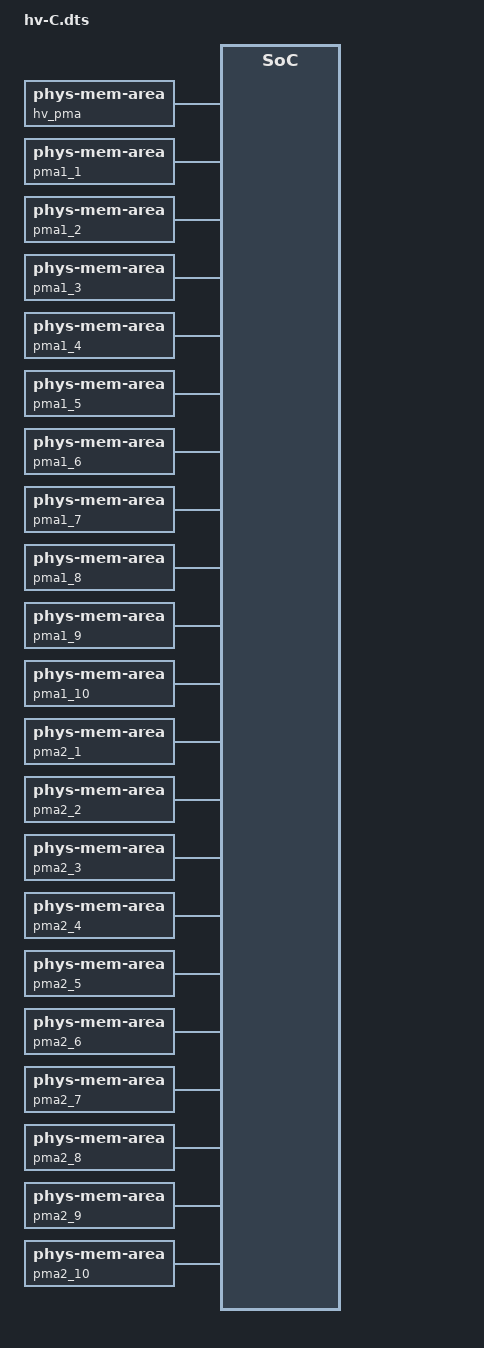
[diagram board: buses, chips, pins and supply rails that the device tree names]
/*
 * Copyright (C) 2013 Freescale Semiconductor, Inc.
 *
 * Redistribution and use in source and binary forms, with or without
 * modification, are permitted provided that the following conditions
 * are met:
 * 1. Redistributions of source code must retain the above copyright
 *    notice, this list of conditions and the following disclaimer.
 * 2. Redistributions in binary form must reproduce the above copyright
 *    notice, this list of conditions and the following disclaimer in the
 *    documentation and/or other materials provided with the distribution.
 *
 * THIS SOFTWARE IS PROVIDED BY THE AUTHOR "AS IS" AND ANY EXPRESS OR
 * IMPLIED WARRANTIES, INCLUDING, BUT NOT LIMITED TO, THE IMPLIED WARRANTIES
 * OF MERCHANTABILITY AND FITNESS FOR A PARTICULAR PURPOSE ARE DISCLAIMED.  IN
 * NO EVENT SHALL THE AUTHOR BE LIABLE FOR ANY DIRECT, INDIRECT, INCIDENTAL,
 * SPECIAL, EXEMPLARY, OR CONSEQUENTIAL DAMAGES (INCLUDING, BUT NOT LIMITED
 * TO, PROCUREMENT OF SUBSTITUTE GOODS OR SERVICES; LOSS OF USE, DATA, OR
 * PROFITS; OR BUSINESS INTERRUPTION) HOWEVER CAUSED AND ON ANY THEORY OF
 * LIABILITY, WHETHER IN CONTRACT, STRICT LIABILITY, OR TORT (INCLUDING
 * NEGLIGENCE OR OTHERWISE) ARISING IN ANY WAY OUT OF THE USE OF THIS
 * SOFTWARE, EVEN IF ADVISED OF THE POSSIBILITY OF SUCH DAMAGE.
 */

/dts-v1/;

/ {
	compatible = "fsl,hv-config";

	// =====================================================
	// Physical Memory Areas
	// =====================================================
	hv_pma:hv_pma {
		compatible = "phys-mem-area";
		addr = <0x0 0x00000000>;
		size = <0x0 0x20000000>;  // 512MB
	};

	pma1_1:pma1_1 {
		compatible = "phys-mem-area";
		addr = <0x0 0x20000000>;
		size = <0x0 0x1000000>;  // 16MB
	};
	pma1_2:pma1_2 {
		compatible = "phys-mem-area";
		addr = <0x0 0x21000000>;
		size = <0x0 0x1000000>;  // 16MB
	};
	pma1_3:pma1_3 {
		compatible = "phys-mem-area";
		addr = <0x0 0x22000000>;
		size = <0x0 0x1000000>;  // 16MB
	};
	pma1_4:pma1_4 {
		compatible = "phys-mem-area";
		addr = <0x0 0x23000000>;
		size = <0x0 0x1000000>;  // 16MB
	};
	pma1_5:pma1_5 {
		compatible = "phys-mem-area";
		addr = <0x0 0x24000000>;
		size = <0x0 0x1000000>;  // 16MB
	};
	pma1_6:pma1_6 {
		compatible = "phys-mem-area";
		addr = <0x0 0x25000000>;
		size = <0x0 0x1000000>;  // 16MB
	};
	pma1_7:pma1_7 {
		compatible = "phys-mem-area";
		addr = <0x0 0x26000000>;
		size = <0x0 0x1000000>;  // 16MB
	};
	pma1_8:pma1_8 {
		compatible = "phys-mem-area";
		addr = <0x0 0x27000000>;
		size = <0x0 0x1000000>;  // 16MB
	};
	pma1_9:pma1_9 {
		compatible = "phys-mem-area";
		addr = <0x0 0x28000000>;
		size = <0x0 0x4000000>;  // 64MB
	};
	pma1_10:pma1_10 {
		compatible = "phys-mem-area";
		addr = <0x0 0x2c000000>;
		size = <0x0 0x4000000>;  // 64MB
	};

	pma2_1:pma2_1 {
		compatible = "phys-mem-area";
		addr = <0x0 0x30000000>;
		size = <0x0 0x1000000>;  // 16MB
	};
	pma2_2:pma2_2 {
		compatible = "phys-mem-area";
		addr = <0x0 0x31000000>;
		size = <0x0 0x1000000>;  // 16MB
	};
	pma2_3:pma2_3 {
		compatible = "phys-mem-area";
		addr = <0x0 0x32000000>;
		size = <0x0 0x1000000>;  // 16MB
	};
	pma2_4:pma2_4 {
		compatible = "phys-mem-area";
		addr = <0x0 0x33000000>;
		size = <0x0 0x1000000>;  // 16MB
	};
	pma2_5:pma2_5 {
		compatible = "phys-mem-area";
		addr = <0x0 0x34000000>;
		size = <0x0 0x1000000>;  // 16MB
	};
	pma2_6:pma2_6 {
		compatible = "phys-mem-area";
		addr = <0x0 0x35000000>;
		size = <0x0 0x1000000>;  // 16MB
	};
	pma2_7:pma2_7 {
		compatible = "phys-mem-area";
		addr = <0x0 0x36000000>;
		size = <0x0 0x1000000>;  // 16MB
	};
	pma2_8:pma2_8 {
		compatible = "phys-mem-area";
		addr = <0x0 0x37000000>;
		size = <0x0 0x1000000>;  // 16MB
	};
	pma2_9:pma2_9 {
		compatible = "phys-mem-area";
		addr = <0x0 0x38000000>;
		size = <0x0 0x4000000>;  // 64MB
	};
	pma2_10:pma2_10 {
		compatible = "phys-mem-area";
		addr = <0x0 0x3c000000>;
		size = <0x0 0x4000000>;  // 64MB
	};
	// =====================================================
	// Hypervisor Config
	// =====================================================
	hv:hypervisor-config {
		compatible = "hv-config";
		stdout = <&hvbc>;

		hvbc: byte-channel {
			compatible = "byte-channel";
			endpoint = <&uartmux>;
			mux-channel = <0>;
		};

		hv-memory {
			compatible = "hv-memory";
			phys-mem = <&hv_pma>;
		};

		serial0:serial0 {
			device = "serial0";
		};

		mpic {
			device = "/soc/pic";
		};

		cpc {
			device = "/soc/l3-cache-controller";
		};

		corenet-law {
			device = "/soc/corenet-law";
		};

		corenet-cf {
			device = "/soc/corenet-cf";
		};

		guts {
			device = "/soc/global-utilities@e0000";
		};
	};

	uartmux: uartmux {
		compatible = "byte-channel-mux";
		endpoint = <&serial0>;
	};

	// =====================================================
	// Partition 1
	// =====================================================
	part1 {
		compatible = "partition";
		label = "lrat-test-1";
		cpus = <0 1 2 1>;
		guest-image = <0xf 0xe8a00000 0 0 0 0x200000>;
		dtb-window = <0 0x00100000 0 0x10000>;

		direct-guest-tlb-management;
		direct-guest-tlb-miss;

		bc1: bc1 {
			compatible = "byte-channel";
			endpoint = <&uartmux>;
			mux-channel = <1>;
		};

		gpma1 {
			compatible = "guest-phys-mem-area";
			phys-mem = <&pma1_1>;
			guest-addr = <0 0>;
		};
		gpma2 {
			compatible = "guest-phys-mem-area";
			phys-mem = <&pma1_2>;
			guest-addr = <0 0x2000000>;
			node-update {
				prepend-stringlist = "compatible", "fsl,lrat-test";
			};
		};
		gpma3 {
			compatible = "guest-phys-mem-area";
			phys-mem = <&pma1_3>;
			guest-addr = <0 0x4000000>;
			node-update {
				prepend-stringlist = "compatible", "fsl,lrat-test";
			};

		};

		gpma4 {
			compatible = "guest-phys-mem-area";
			phys-mem = <&pma1_4>;
			guest-addr = <0 0x6000000>;
			node-update {
				prepend-stringlist = "compatible", "fsl,lrat-test";
			};

		};
		gpma5 {
			compatible = "guest-phys-mem-area";
			phys-mem = <&pma1_5>;
			guest-addr = <0 0x8000000>;
			node-update {
				prepend-stringlist = "compatible", "fsl,lrat-test";
			};

		};
		gpma6 {
			compatible = "guest-phys-mem-area";
			phys-mem = <&pma1_6>;
			guest-addr = <0 0xa000000>;
			node-update {
				prepend-stringlist = "compatible", "fsl,lrat-test";
			};

		};
		gpma7 {
			compatible = "guest-phys-mem-area";
			phys-mem = <&pma1_7>;
			guest-addr = <0 0xc000000>;
			node-update {
				prepend-stringlist = "compatible", "fsl,lrat-test";
			};

		};
		gpma8 {
			compatible = "guest-phys-mem-area";
			phys-mem = <&pma1_8>;
			guest-addr = <0 0xe000000>;
			node-update {
				prepend-stringlist = "compatible", "fsl,lrat-test";
			};

		};
		gpma9 {
			compatible = "guest-phys-mem-area";
			phys-mem = <&pma1_9>;
			guest-addr = <0 0x10000000>;
			node-update {
				prepend-stringlist = "compatible", "fsl,lrat-test";
			};
		};
		gpma10 {
			compatible = "guest-phys-mem-area";
			phys-mem = <&pma1_10>;
			guest-addr = <0 0x14000000>;
			node-update {
				prepend-stringlist = "compatible", "fsl,lrat-test";
			};

		};

		aliases {
			stdout = <&bc1>;
		};

	};

	// =====================================================
	// Partition 2
	// =====================================================
	part2 {
		compatible = "partition";
		label = "lrat-test-2";
		cpus = <1 1 3 1>;
		guest-image = <0xf 0xe8a00000 0 0 0 0x200000>;
		dtb-window = <0 0x00100000 0 0x10000>;

		direct-guest-tlb-management;
		direct-guest-tlb-miss;

		bc2: bc2 {
			compatible = "byte-channel";
			endpoint = <&uartmux>;
			mux-channel = <2>;
		};

		gpma1 {
			compatible = "guest-phys-mem-area";
			phys-mem = <&pma2_1>;
			guest-addr = <0 0>;
		};
		gpma2 {
			compatible = "guest-phys-mem-area";
			phys-mem = <&pma2_2>;
			guest-addr = <0 0x20000000>;
			node-update {
				prepend-stringlist = "compatible", "fsl,lrat-test";
			};
		};
		gpma3 {
			compatible = "guest-phys-mem-area";
			phys-mem = <&pma2_3>;
			guest-addr = <0 0x24000000>;
			node-update {
				prepend-stringlist = "compatible", "fsl,lrat-test";
			};

		};

		gpma4 {
			compatible = "guest-phys-mem-area";
			phys-mem = <&pma2_4>;
			guest-addr = <0 0x26000000>;
			node-update {
				prepend-stringlist = "compatible", "fsl,lrat-test";
			};

		};
		gpma5 {
			compatible = "guest-phys-mem-area";
			phys-mem = <&pma2_5>;
			guest-addr = <0 0x28000000>;
			node-update {
				prepend-stringlist = "compatible", "fsl,lrat-test";
			};

		};
		gpma6 {
			compatible = "guest-phys-mem-area";
			phys-mem = <&pma2_6>;
			guest-addr = <0 0x2a000000>;
			node-update {
				prepend-stringlist = "compatible", "fsl,lrat-test";
			};

		};
		gpma7 {
			compatible = "guest-phys-mem-area";
			phys-mem = <&pma2_7>;
			guest-addr = <0 0x2c000000>;
			node-update {
				prepend-stringlist = "compatible", "fsl,lrat-test";
			};

		};
		gpma8 {
			compatible = "guest-phys-mem-area";
			phys-mem = <&pma2_8>;
			guest-addr = <0 0x2e000000>;
			node-update {
				prepend-stringlist = "compatible", "fsl,lrat-test";
			};

		};
		gpma9 {
			compatible = "guest-phys-mem-area";
			phys-mem = <&pma2_9>;
			guest-addr = <0 0x30000000>;
			node-update {
				prepend-stringlist = "compatible", "fsl,lrat-test";
			};
		};
		gpma10 {
			compatible = "guest-phys-mem-area";
			phys-mem = <&pma2_10>;
			guest-addr = <0 0x34000000>;
			node-update {
				prepend-stringlist = "compatible", "fsl,lrat-test";
			};

		};

		aliases {
			stdout = <&bc2>;
		};

	};
};
